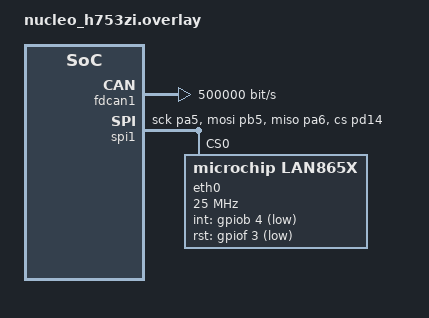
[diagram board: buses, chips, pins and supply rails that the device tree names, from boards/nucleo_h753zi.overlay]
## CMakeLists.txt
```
# SPDX-License-Identifier: Apache-2.0

cmake_minimum_required(VERSION 3.20.0)

find_package(Zephyr REQUIRED HINTS $ENV{ZEPHYR_BASE})
project(sockets_echo_client)

if(CONFIG_NET_SOCKETS_SOCKOPT_TLS AND
   CONFIG_MBEDTLS_KEY_EXCHANGE_PSK_ENABLED AND
   (CONFIG_NET_SAMPLE_PSK_HEADER_FILE STREQUAL "dummy_psk.h"))
  add_custom_target(development_psk
    COMMAND ${CMAKE_COMMAND} -E echo "----------------------------------------------------------"
    COMMAND ${CMAKE_COMMAND} -E echo "--- WARNING: Using dummy PSK! Only suitable for        ---"
    COMMAND ${CMAKE_COMMAND} -E echo "--- development. Set NET_SAMPLE_PSK_HEADER_FILE to use ---"
    COMMAND ${CMAKE_COMMAND} -E echo "--- own pre-shared key.                                ---"
    COMMAND ${CMAKE_COMMAND} -E echo "----------------------------------------------------------"
  )
  add_dependencies(app development_psk)
endif()

target_sources(                     app PRIVATE src/can_spe_adapter.c src/app_can.c)
target_sources_ifdef(CONFIG_NET_UDP app PRIVATE src/udp.c)
target_sources_ifdef(CONFIG_NET_TCP app PRIVATE src/tcp.c)

target_include_directories(app PRIVATE src/)
include(${ZEPHYR_BASE}/samples/net/common/common.cmake)

set(gen_dir ${ZEPHYR_BINARY_DIR}/include/generated/)

generate_inc_file_for_target(
    app
    src/echo-apps-cert.der
    ${gen_dir}/echo-apps-cert.der.inc
    )
```

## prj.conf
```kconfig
CONFIG_CAN=y
CONFIG_DEBUG=y

# Generic networking options
CONFIG_NETWORKING=y
CONFIG_NET_UDP=y
CONFIG_NET_TCP=y
CONFIG_NET_IPV6=y
CONFIG_NET_IPV4=y
CONFIG_NET_SOCKETS=y
CONFIG_ZVFS_POLL_MAX=5
CONFIG_NET_CONNECTION_MANAGER=y
CONFIG_NET_TC_THREAD_PREEMPTIVE=y

CONFIG_POSIX_API=y

# Kernel options
CONFIG_MAIN_STACK_SIZE=2048
CONFIG_ENTROPY_GENERATOR=y
CONFIG_TEST_RANDOM_GENERATOR=y
CONFIG_INIT_STACKS=y
CONFIG_MAX_THREAD_BYTES=3

# Logging
CONFIG_NET_LOG=y
CONFIG_LOG=y
CONFIG_NET_STATISTICS=y
CONFIG_PRINTK=y

# Network buffers
CONFIG_NET_PKT_RX_COUNT=16
CONFIG_NET_PKT_TX_COUNT=16
CONFIG_NET_BUF_RX_COUNT=80
CONFIG_NET_BUF_TX_COUNT=80
CONFIG_NET_CONTEXT_NET_PKT_POOL=y

# IP address options
CONFIG_NET_IF_UNICAST_IPV6_ADDR_COUNT=3
CONFIG_NET_IF_MCAST_IPV6_ADDR_COUNT=4
CONFIG_NET_MAX_CONTEXTS=10
CONFIG_NET_IF_MAX_IPV6_COUNT=3
CONFIG_NET_IF_MAX_IPV4_COUNT=3

# Network shell
CONFIG_NET_SHELL=y

# The addresses are selected so that qemu<->qemu connectivity works ok.
# For linux<->qemu connectivity, create a new conf file and swap the
# addresses (so that peer address is ending to 2).
CONFIG_NET_CONFIG_SETTINGS=y
CONFIG_NET_CONFIG_NEED_IPV6=y
CONFIG_NET_CONFIG_MY_IPV6_ADDR="2001:db8::2"
CONFIG_NET_CONFIG_PEER_IPV6_ADDR="2001:db8::1"
CONFIG_NET_CONFIG_NEED_IPV4=y
CONFIG_NET_CONFIG_MY_IPV4_ADDR="192.0.2.2"
CONFIG_NET_CONFIG_PEER_IPV4_ADDR="192.0.2.1"
CONFIG_SYSTEM_WORKQUEUE_STACK_SIZE=2048
```

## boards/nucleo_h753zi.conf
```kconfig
# Generic networking options
CONFIG_NET_UDP=n
CONFIG_NET_IPV6=n

# Network shell
CONFIG_SERIAL=y
# CONFIG_SHELL=y
# CONFIG_SHELL_BACKEND_SERIAL=y
# CONFIG_NET_SHELL=y

# Network application options and configuration
CONFIG_NET_CONFIG_NEED_IPV6=n
CONFIG_NET_CONFIG_MY_IPV4_NETMASK="255.255.255.0"
CONFIG_NET_CONFIG_AUTO_INIT=y

# LAN865x T1S driver specific
CONFIG_NET_L2_ETHERNET=y
# CONFIG_NET_PROMISCUOUS_MODE=y
CONFIG_ETH_LAN865X=y
# CONFIG_ETH_LAN865X_LOG_LEVEL=4
CONFIG_NET_BUF_DATA_SIZE=2048

# Debug options
CONFIG_DEBUG_THREAD_INFO=n
```

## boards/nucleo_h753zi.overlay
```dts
// &fdcan1 {
//     compatible         = "st,stm32h7-fdcan";
//     #address-cells = <1>;
//     #size-cells    = <0>;
//     status = "okay";
//     bosch,mram-cfg = 
//     // pinctrl-0     = <&can1_rx_pd0 &can1_tx_pd1>;
    
//     pinctrl-names = "default";
// };

&fdcan1 { // Replace with the actual node name for your CAN controller
        status = "okay";
        bus-speed = <500000>;
        // Other CAN controller properties like pinctrl-0, pinctrl-names, etc.
};

/* Enable SPI1 & lower its address/size cells so we can add child nodes */
&spi1 {
    #address-cells = <1>;
    #size-cells    = <0>;
    status = "okay";
    // /* CS on PD14 */
    // cs-gpios      = <&gpiod 14 GPIO_ACTIVE_LOW>;
    pinctrl-0     = <&spi1_sck_pa5 &spi1_mosi_pb5 &spi1_miso_pa6 &spi1_cs_pd14>;
    pinctrl-names = "default";

    /* ---------- LAN865x MAC‑PHY ------------------------------------------ */
    eth0: lan865x@0 {
        compatible         = "microchip,lan865x";
        reg                = <0>;              /* CS# 0 on this SPI bus      */
        spi-max-frequency  = <25000000>;
        int-gpios          = <&gpiob 4 GPIO_ACTIVE_LOW>;
        rst-gpios          = <&gpiof 3 GPIO_ACTIVE_LOW>;
        local-mac-address  = [00 19 05 00 00 05];

        tx-cut-through-mode;
        rx-cut-through-mode;
        
        lan865x_mdio: lan865x_mdio {
            compatible = "microchip,lan865x-mdio";
            status = "okay";
            #address-cells = <1>;
            #size-cells = <0>;
            ethernet-phy@0 {
                compatible = "microchip,t1s-phy";
                reg = <0x0>;
                plca-enable;
                plca-node-id = <1>;
                plca-node-count = <2>;
                plca-burst-count = <4>;
                plca-burst-timer = <0>;
                plca-to-timer = <0x20>;
                status = "okay";
            };
        };   
                
        status = "okay";        
    };
};

&{/soc/ethernet@40028000}{
    status = "disabled";
};
&{/soc/ethernet@40028000/ethernet}{
    status = "disabled";
};

&{/soc/ethernet@40028000/mdio}{
    status = "disabled";
};

&{/soc/ethernet@40028000/mdio/ethernet-phy@0}{
    status = "disabled";
};


&pinctrl {
    spi1_cs_pd14: spi1_cs_pd14 {
        pinmux = <STM32_PINMUX('D', 14, GPIO)>;   /* <-- GPIO, not AF5 */
        drive-push-pull;
        output-low;
        bias-pull-up;
        slew-rate = "very-high-speed";
    };

    spi1_sck_pa5 {
        pinmux    = <STM32_PINMUX('A', 5, AF5)>;
        bias-pull-down;
        drive-push-pull;
        slew-rate = "very-high-speed";
    };

    spi1_mosi_pb5 {
        pinmux    = <STM32_PINMUX('B', 5, AF5)>;
        bias-pull-down;
        drive-push-pull;
        slew-rate = "very-high-speed";
    };

    spi1_miso_pa6 {
        pinmux    = <STM32_PINMUX('A', 6, AF5)>;
        bias-pull-down;
        drive-push-pull;
        slew-rate = "very-high-speed";
    };

    can1_rx_pd0 {
        pinmux    = <STM32_PINMUX('D', 0, AF9)>;
        slew-rate = "very-high-speed";
    };

    can1_tx_pd1 {
        pinmux    = <STM32_PINMUX('D', 1, AF9)>;
        drive-push-pull;
        slew-rate = "very-high-speed";
    };
};
```

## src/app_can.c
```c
#include <zephyr/logging/log.h>
LOG_MODULE_DECLARE(net_echo_client_sample, LOG_LEVEL_INF);

#include "common.h"
#include "app_can.h"
#include <zephyr/kernel.h>


/* Change these to match your board/device tree aliases */
#define CAN_FILTER_DATA    CAN_FILTER_IDE //BIT(2)

const struct device *const can_dev = DEVICE_DT_GET(DT_CHOSEN(zephyr_canbus));

/* CAN RX callback: called in interrupt context */
static void can_rx_cb(const struct device *dev,
                      struct can_frame *frame) 
{
	static struct can_frame frame_to_send = {0};
    
	memcpy(&frame_to_send, frame, sizeof(struct can_frame));

    uint8_t dbg[128] = {0};
	for(int i = 0; i < frame->dlc ; i++)
	{
		sprintf(&dbg[i*3],"%02X ",frame_to_send.data[i]);	
	}	
	LOG_DBG("Received CAN Frame. ID : 0x%02X , Frame : %s",frame_to_send.id,dbg);

	while (k_msgq_put(&can_msgq, &frame, K_NO_WAIT) != 0) {
		/* message queue is full: purge old data & try again */
		k_msgq_purge(&can_msgq);
	}	
}

static void init_can(void)
{
    struct can_filter filter = {
        .id     = 0U,
        .mask   = 0U,          /* accept all IDs */
        .flags  = CAN_FILTER_DATA,
    };
   

    if (!can_dev) {
        LOG_ERR("CAN device not found");
        return;
    }
	
	if (!device_is_ready(can_dev)) {
		LOG_ERR("CAN device %s is not ready", can_dev->name);
		return;
	}

	can_set_mode(can_dev, CAN_MODE_NORMAL);


	int err = can_start(can_dev);
	if (err != 0) {
		LOG_ERR("Error starting CAN controller (err %d)", err);
		return;
	}

	 /* Install filter + RX callback */
    int ret = can_add_rx_filter_msgq(can_dev, &can_msgq, &filter);  
	if (ret < 0) {
  		LOG_ERR("Unable to add rx msgq [%d]", ret);
	}  
	ret = can_add_rx_filter(can_dev,can_rx_cb, NULL, &filter);
	if (ret < 0) {
  		LOG_ERR("Unable to add rx filter cb [%d]", ret);
	}

	LOG_INF("CAN filter return : %d", ret);
}

void can_thread(void* arg1, void* arg2, void* arg3)
{
   init_can();


   while(1)
   {
		can_frame_t frame = {0};
		int spe_rcv = k_msgq_get(&spe_msgq, &frame, K_FOREVER);
	    if(spe_rcv == 0) {
			LOG_DBG("CAN ID: 0x%03X DLC: %d Data: %02X %02X %02X %02X %02X %02X %02X %02X",
				frame.id, frame.dlc,
				frame.data[0], frame.data[1], frame.data[2], frame.data[3],
				frame.data[4], frame.data[5], frame.data[6], frame.data[7]);

			int ret = -1;

			ret = can_send(can_dev, &frame, K_NO_WAIT, NULL, NULL);
			if (ret != 0) {
					LOG_ERR("Sending failed [%d]", ret);
			}	
			else{
				LOG_DBG("CAN frame sent");
			}
			//Received CAN frame, send it over TCP
		}	
	}
}
```

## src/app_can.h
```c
#ifndef APP_CAN_H
#define APP_CAN_H

#define CAN_THREAD_STACK_SIZE 512
#define CAN_THREAD_PRIORITY -1//5

void can_thread(void* , void* , void* );


#endif // APP_CAN_H
```

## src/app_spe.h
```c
#ifndef APP_SPE_H
#define APP_SPE_H

#endif // APP_SPE_H
```

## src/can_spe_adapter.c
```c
/* can_spe_adapter.c - Transceiver for CTA */

/*
 * Copyright (c) 2017 Intel Corporation.
 * Copyright (c) 2018 Nordic Semiconductor ASA.
 *
 * SPDX-License-Identifier: Apache-2.0
 */

#include <zephyr/logging/log.h>
LOG_MODULE_REGISTER(net_echo_client_sample, LOG_LEVEL_DBG);

#include <zephyr/kernel.h>
#include <errno.h>
#include <stdio.h>

#include <zephyr/posix/sys/eventfd.h>

#include <zephyr/net/socket.h>
#include <zephyr/net/tls_credentials.h>
#include <zephyr/net/net_if.h>
#include <zephyr/net/net_mgmt.h>
#include <zephyr/net/net_event.h>
#include <zephyr/net/conn_mgr_monitor.h>
#include <zephyr/net/ethernet.h>
#include <zephyr/net/ethernet_mgmt.h>

#include "common.h"
#include "app_can.h"
#include "ca_certificate.h"


#define APP_BANNER "Run echo client"

#define INVALID_SOCK (-1)

#define EVENT_MASK (NET_EVENT_L4_CONNECTED | \
		    NET_EVENT_L4_DISCONNECTED)


APP_DMEM struct configs conf = {
	.ipv4 = {
		.proto = "IPv4",
		.udp.sock = INVALID_SOCK,
		.tcp.sock = INVALID_SOCK,
	},
	.ipv6 = {
		.proto = "IPv6",
		.udp.sock = INVALID_SOCK,
		.tcp.sock = INVALID_SOCK,
	},
};

static APP_BMEM struct pollfd fds[1 + 4];
static APP_BMEM int nfds;

static APP_BMEM bool connected;
static APP_BMEM bool need_restart;

K_SEM_DEFINE(run_app, 0, 1);

K_THREAD_DEFINE(can_tid, CAN_THREAD_STACK_SIZE,
					can_thread, NULL, NULL, NULL,
					CAN_THREAD_PRIORITY, 0, 0);

static struct net_mgmt_event_callback mgmt_cb;



#define CAN_QUEUE_SIZE 50U
#define CAN_FRAME_SIZE sizeof(can_frame_t)

#define SPE_QUEUE_SIZE 10U
#define SPE_FRAME_SIZE sizeof(can_frame_t) // can_frame_t for now. Should be spe_frame_t when not tested with echo_server

static uint8_t can_msgq_buffer[CAN_QUEUE_SIZE * CAN_FRAME_SIZE];
struct k_msgq can_msgq;

static uint8_t spe_msgq_buffer[SPE_QUEUE_SIZE * SPE_FRAME_SIZE];
struct k_msgq spe_msgq;


static void prepare_fds(void)
{
	nfds = 0;

	/* eventfd is used to trigger restart */
	fds[nfds].fd = eventfd(0, 0);
	fds[nfds].events = POLLIN;
	nfds++;

	if (conf.ipv4.udp.sock >= 0) {
		fds[nfds].fd = conf.ipv4.udp.sock;
		fds[nfds].events = POLLIN;
		nfds++;
	}

	if (conf.ipv4.tcp.sock >= 0) {
		fds[nfds].fd = conf.ipv4.tcp.sock;
		fds[nfds].events = POLLIN;
		nfds++;
	}	
}

static void wait(void)
{
	int ret;

	/* Wait for event on any socket used. Once event occurs,
	 * we'll check them all.
	 */
	ret = poll(fds, nfds, 100);
	if (ret < 0) {
		static bool once;

		if (!once) {
			once = true;
			LOG_ERR("Error in poll:%d", errno);
		}

		return;
	}

	if (ret > 0 && fds[0].revents) {
		eventfd_t value;

		eventfd_read(fds[0].fd, &value);
		LOG_DBG("Received restart event.");
		return;
	}
}

static int start_udp_and_tcp(void)
{
	int ret;

	LOG_INF("Starting...");

	if (IS_ENABLED(CONFIG_NET_TCP)) {
		ret = start_tcp();
		if (ret < 0) {
			return ret;
		}
	}

	if (IS_ENABLED(CONFIG_NET_UDP)) {
		ret = start_udp();
		if (ret < 0) {
			return ret;
		}
	}

	prepare_fds();

	return 0;
}

__attribute__((unused)) static int run_udp_and_tcp(void)
{
	int ret = 0;

	wait();

	ret = process_tcp();

	return ret;
}

static void stop_udp_and_tcp(void)
{
	LOG_INF("Stopping...");

	if (IS_ENABLED(CONFIG_NET_UDP)) {
		stop_udp();
	}

	if (IS_ENABLED(CONFIG_NET_TCP)) {
		stop_tcp();
	}
}


static void event_handler(struct net_mgmt_event_callback *cb,
			  uint64_t mgmt_event, struct net_if *iface)
{
	if ((mgmt_event & EVENT_MASK) != mgmt_event) {
		return;
	}

	if (mgmt_event == NET_EVENT_L4_CONNECTED) {
		LOG_INF("Network connected");

		connected = true;
		conf.ipv4.udp.mtu = net_if_get_mtu(iface);
		conf.ipv6.udp.mtu = conf.ipv4.udp.mtu;

		if (!IS_ENABLED(CONFIG_NET_IPV6_PE)) {
			k_sem_give(&run_app);
		}

		return;
	}

	if (mgmt_event == NET_EVENT_L4_DISCONNECTED) {
		LOG_INF("Network disconnected");

		connected = false;
		k_sem_reset(&run_app);

		return;
	}
}

static const uint8_t mac_addr_change[6] = { 0xAA, 0xBB, 0xCC,
					 0x01,  0x02,  0x04 };
static int init_macaddr(void)
{
	struct ethernet_req_params params;
	struct net_if *iface = net_if_get_default();
	int ret;

	net_if_down(iface);
	memcpy(params.mac_address.addr, mac_addr_change, 6);

	ret = net_mgmt(NET_REQUEST_ETHERNET_SET_MAC_ADDRESS,
	               iface, &params,
	               sizeof(struct ethernet_req_params));
	net_if_up(iface);

	return ret;
}

static void init_app(void)
{
	LOG_INF(APP_BANNER);


#if defined(CONFIG_NET_SOCKETS_SOCKOPT_TLS)
	int err = tls_credential_add(CA_CERTIFICATE_TAG,
				    TLS_CREDENTIAL_CA_CERTIFICATE,
				    ca_certificate,
				    sizeof(ca_certificate));
	if (err < 0) {
		LOG_ERR("Failed to register public certificate: %d", err);
	}

#if defined(CONFIG_MBEDTLS_KEY_EXCHANGE_PSK_ENABLED)
	err = tls_credential_add(PSK_TAG,
				TLS_CREDENTIAL_PSK,
				psk,
				sizeof(psk));
	if (err < 0) {
		LOG_ERR("Failed to register PSK: %d", err);
	}
	err = tls_credential_add(PSK_TAG,
				TLS_CREDENTIAL_PSK_ID,
				psk_id,
				sizeof(psk_id) - 1);
	if (err < 0) {
		LOG_ERR("Failed to register PSK ID: %d", err);
	}
#endif /* defined(CONFIG_MBEDTLS_KEY_EXCHANGE_PSK_ENABLED) */
#endif /* defined(CONFIG_NET_SOCKETS_SOCKOPT_TLS) */


	if (IS_ENABLED(CONFIG_NET_CONNECTION_MANAGER)) {
		net_mgmt_init_event_callback(&mgmt_cb,
					     event_handler, EVENT_MASK);
		net_mgmt_add_event_callback(&mgmt_cb);

		conn_mgr_mon_resend_status();
	}

	k_msgq_init(&can_msgq, can_msgq_buffer, CAN_FRAME_SIZE, CAN_QUEUE_SIZE);
	k_msgq_init(&spe_msgq, spe_msgq_buffer, SPE_FRAME_SIZE, SPE_QUEUE_SIZE);

	init_udp();
	init_macaddr();
}


static void start_client(void *p1, void *p2, void *p3)
{
	ARG_UNUSED(p1);
	ARG_UNUSED(p2);
	ARG_UNUSED(p3);

	int iterations = CONFIG_NET_SAMPLE_SEND_ITERATIONS;
	int i = 0;
	int ret;

	while (iterations == 0 || i < iterations) {
		/* Wait for the connection. */
		k_sem_take(&run_app, K_FOREVER);
		
		do {
			if (need_restart) {
				/* Close all sockets and get a fresh restart */
				stop_udp_and_tcp();
				need_restart = false;
			}

			ret = start_udp_and_tcp();

			while (connected && (ret == 0)) {

				ret = process_tcp_proto(&conf.ipv4);
				// ret = run_udp_and_tcp();

				if (iterations > 0) {
					i++;
					if (i >= iterations) {
						break;
					}
				}

				// if (need_restart) {
				// 	break;
				// }
				k_yield();
			}
		} while (need_restart);

		stop_udp_and_tcp();
	}
}

int main(void)
{
	//log_thread_set(k_current_get());
	//k_thread_suspend(can_tid);

	init_app();

	

    LOG_INF("CAN→SPE bridge running");

	if (!IS_ENABLED(CONFIG_NET_CONNECTION_MANAGER)) {
		/* If the config library has not been configured to start the
		 * app only after we have a connection, then we can start
		 * it right away.
		 */
		connected = true;
		k_sem_give(&run_app);
	}

	//k_thread_start(can_tid);

	//k_thread_priority_set(k_current_get(), THREAD_PRIORITY);

	k_yield();

	start_client(NULL, NULL, NULL);

	return 0;
}
```

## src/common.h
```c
/*
 * Copyright (c) 2017 Intel Corporation.
 * Copyright (c) 2018 Nordic Semiconductor ASA.
 *
 * SPDX-License-Identifier: Apache-2.0
 */

#include <zephyr/kernel.h>
#include <zephyr/drivers/can.h>

#include "net_sample_common.h"

/* Value of 0 will cause the IP stack to select next free port */
#define MY_PORT 0

#define PEER_PORT 4242

/* Turn off the progress printing so that shell can be used.
 * Set to true if you want to see progress output.
 */
#define PRINT_PROGRESS true

#if defined(CONFIG_USERSPACE)
#include <zephyr/app_memory/app_memdomain.h>
extern struct k_mem_partition app_partition;
extern struct k_mem_domain app_domain;
#define APP_BMEM K_APP_BMEM(app_partition)
#define APP_DMEM K_APP_DMEM(app_partition)
#else
#define APP_BMEM
#define APP_DMEM
#endif

#if defined(CONFIG_NET_TC_THREAD_PREEMPTIVE)
#define THREAD_PRIORITY K_PRIO_PREEMPT(8)
#else
#define THREAD_PRIORITY -2
#endif

#define UDP_STACK_SIZE 2048

struct udp_control {
	struct k_poll_signal tx_signal;
	struct k_timer tx_timer;
	struct k_timer rx_timer;
};

struct sample_data {
	const char *proto;

	struct {
		int sock;
		uint32_t expecting;
		uint32_t counter;
		uint32_t mtu;
		struct udp_control *ctrl;
	} udp;

	struct {
		int sock;
		uint32_t expecting;
		uint32_t received;
		uint32_t counter;
	} tcp;
};

struct configs {
	struct sample_data ipv4;
	struct sample_data ipv6;
};

#if !defined(CONFIG_NET_CONFIG_PEER_IPV4_ADDR)
#define CONFIG_NET_CONFIG_PEER_IPV4_ADDR ""
#endif

#if !defined(CONFIG_NET_CONFIG_PEER_IPV6_ADDR)
#define CONFIG_NET_CONFIG_PEER_IPV6_ADDR ""
#endif

extern struct configs conf;

extern struct k_msgq can_msgq;
extern struct k_msgq spe_msgq;

typedef struct can_frame can_frame_t;

typedef struct {
	uint16_t msg_type;
	uint32_t data_len;
	union{
		can_frame_t can_frame;
		uint8_t data[sizeof(can_frame_t)];
	};
	uint32_t crc;
} spe_msg_frame_t;

#if defined(CONFIG_NET_UDP)
/* init_udp initializes kernel objects, hence it has to be called from
 * supervisor thread.
 */
void init_udp(void);
int start_udp(void);
int process_udp(void);
void stop_udp(void);
#else
static inline void init_udp(void) { }
static inline int start_udp(void) { return 0; }
static inline int process_udp(void) { return 0; }
static inline void stop_udp(void) { }
#endif /* defined(CONFIG_NET_UDP) */

int start_tcp(void);
int process_tcp(void);
void stop_tcp(void);
int send_buf_tcp(struct sample_data *data, uint8_t *data_buffer, uint32_t len);
int process_tcp_proto(struct sample_data *data);
```

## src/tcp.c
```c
/* tcp.c - TCP specific code for echo client */

/*
 * Copyright (c) 2017 Intel Corporation.
 * Copyright (c) 2018 Nordic Semiconductor ASA.
 *
 * SPDX-License-Identifier: Apache-2.0
 */

#include <zephyr/logging/log.h>
LOG_MODULE_DECLARE(net_echo_client_sample, LOG_LEVEL_INF);

#include <zephyr/kernel.h>
#include <errno.h>
#include <stdio.h>

#include <zephyr/net/socket.h>
#include <zephyr/net/tls_credentials.h>
#include <zephyr/random/random.h>

#include "common.h"
#include "ca_certificate.h"

#define RECV_BUF_SIZE 128

/* These proxy server addresses are only used when CONFIG_SOCKS
 * is enabled. To connect to a proxy server that is not running
 * under the same IP as the peer or uses a different port number,
 * modify the values.
 */
#define SOCKS5_PROXY_V4_ADDR CONFIG_NET_CONFIG_PEER_IPV4_ADDR
#define SOCKS5_PROXY_PORT 1080

static ssize_t sendall(int sock, const void *buf, size_t len)
{
	while (len) {
		ssize_t out_len = send(sock, buf, len, 0);

		if (out_len < 0) {
			return out_len;
		}
		buf = (const char *)buf + out_len;
		len -= out_len;
	}

	return 0;
}

int send_tcp_data(struct sample_data *data)
{
	int ret = 0;

	// do {
	// 	data->tcp.expecting = sys_rand32_get() % ipsum_len;
	// } while (data->tcp.expecting == 0U);

	// data->tcp.received = 0U;

	// // ret =  sendall(data->tcp.sock, lorem_ipsum, data->tcp.expecting);

	// if (ret < 0) {
	// 	LOG_ERR("%s TCP: Failed to send data, errno %d", data->proto,
	// 		errno);
	// } else {
	// 	if (PRINT_PROGRESS) {
	// 		LOG_DBG("%s TCP: Sent %d bytes", data->proto,
	// 			data->tcp.expecting);
	// 	}
	// }

	return ret;
}

int send_buf_tcp(struct sample_data *data, uint8_t *data_buffer, uint32_t len)
{
	int ret;

	if(len)
	{
		data->tcp.expecting = len;
	}

	data->tcp.received = 0U;

	ret =  sendall(data->tcp.sock, data_buffer, data->tcp.expecting);

	if (ret < 0) {
		LOG_ERR("%s TCP: Failed to send data, errno %d", data->proto,
			errno);
	} else {
		if (PRINT_PROGRESS) {
			LOG_DBG("%s TCP: Sent %d bytes", data->proto,
				data->tcp.expecting);
		}
	}

	return ret;
}

static int start_tcp_proto(struct sample_data *data, sa_family_t family,
			   struct sockaddr *addr, socklen_t addrlen)
{
	int ret;

#if defined(CONFIG_NET_SOCKETS_SOCKOPT_TLS)
	data->tcp.sock = socket(family, SOCK_STREAM, IPPROTO_TLS_1_2);
#else
	data->tcp.sock = socket(family, SOCK_STREAM, IPPROTO_TCP);
#endif
	if (data->tcp.sock < 0) {
		LOG_ERR("Failed to create TCP socket (%s): %d", data->proto,
			errno);
		return -errno;
	}

	if (IS_ENABLED(CONFIG_SOCKS)) {
		struct sockaddr proxy_addr;
		socklen_t proxy_addrlen;

		if (family == AF_INET) {
			struct sockaddr_in *proxy4 =
				(struct sockaddr_in *)&proxy_addr;

			proxy4->sin_family = AF_INET;
			proxy4->sin_port = htons(SOCKS5_PROXY_PORT);
			inet_pton(AF_INET, SOCKS5_PROXY_V4_ADDR,
				  &proxy4->sin_addr);
			proxy_addrlen = sizeof(struct sockaddr_in);
		} else {
			return -EINVAL;
		}

		ret = setsockopt(data->tcp.sock, SOL_SOCKET, SO_SOCKS5,
				 &proxy_addr, proxy_addrlen);
		if (ret < 0) {
			return ret;
		}
	}

#if defined(CONFIG_NET_SOCKETS_SOCKOPT_TLS)
	sec_tag_t sec_tag_list[] = {
		CA_CERTIFICATE_TAG,
#if defined(CONFIG_MBEDTLS_KEY_EXCHANGE_PSK_ENABLED)
		PSK_TAG,
#endif
	};

	ret = setsockopt(data->tcp.sock, SOL_TLS, TLS_SEC_TAG_LIST,
			 sec_tag_list, sizeof(sec_tag_list));
	if (ret < 0) {
		LOG_ERR("Failed to set TLS_SEC_TAG_LIST option (%s): %d",
			data->proto, errno);
		ret = -errno;
	}

	ret = setsockopt(data->tcp.sock, SOL_TLS, TLS_HOSTNAME,
			 TLS_PEER_HOSTNAME, sizeof(TLS_PEER_HOSTNAME));
	if (ret < 0) {
		LOG_ERR("Failed to set TLS_HOSTNAME option (%s): %d",
			data->proto, errno);
		ret = -errno;
	}
#endif

	ret = connect(data->tcp.sock, addr, addrlen);
	if (ret < 0) {
		LOG_ERR("Cannot connect to TCP remote (%s): %d", data->proto,
			errno);
		ret = -errno;
	}

	return ret;
}

int process_tcp_proto(struct sample_data *data)
{
	int ret = 0;
	int received = 0;
	char buf[RECV_BUF_SIZE] = { 0 };
	static uint32_t cnt = 0;

	can_frame_t frame_to_send = {0};

	do {

		int can_rcv = k_msgq_get(&can_msgq, &frame_to_send, K_NO_WAIT);
	    if(can_rcv == 0) {
			
			if(++cnt % 100 == 0)
			{
				LOG_INF("100 CAN frames sent over SPE");
			}	
			ret = send_buf_tcp(data, (uint8_t*)&frame_to_send, sizeof(frame_to_send));
			//Receievd CAN frame, send it over TCP
		} else if (can_rcv == -ENOMSG) { // Queue purged by other thread
			LOG_DBG("No CAN frame received, sending TCP data");
		} else if (can_rcv == -EAGAIN) { 
			LOG_DBG("No CAN frame received, msgq_get timed out");
		}

		if (ret < 0) {
			return ret;
		}

		received = recv(data->tcp.sock, buf, sizeof(buf), MSG_DONTWAIT);

		/* No data or error. */
		if (received == 0) {
			LOG_DBG("No data received");
			ret = -EIO;
			continue;
		} else if (received < 0) {
			//LOG_DBG("Error receiving TCP data errno : %d", errno);
			if (errno == EAGAIN || errno == EWOULDBLOCK) {
				ret = 0;
			} else {
				ret = -errno;
			}
			continue;
		}
		/* Data received. */
		data->tcp.received += received;
		k_msgq_put(&spe_msgq, buf, K_NO_WAIT); // Send over to CAN thread
		if (data->tcp.received < data->tcp.expecting) {
			continue;
		}
		
		break;
	} while (received > 0 || k_msgq_num_used_get(&can_msgq) > 0);

	return ret;
}

int start_tcp(void)
{
	int ret = 0;
	struct sockaddr_in addr4;
	
	if (IS_ENABLED(CONFIG_NET_IPV4)) {
		addr4.sin_family = AF_INET;
		addr4.sin_port = htons(PEER_PORT);
		inet_pton(AF_INET, CONFIG_NET_CONFIG_PEER_IPV4_ADDR,
			  &addr4.sin_addr);

		ret = start_tcp_proto(&conf.ipv4, AF_INET,
				      (struct sockaddr *)&addr4,
				      sizeof(addr4));
		if (ret < 0) {
			return ret;
		}
	}

	if (IS_ENABLED(CONFIG_NET_IPV4)) {
		ret = send_tcp_data(&conf.ipv4);
	}

	return ret;
}

int process_tcp(void)
{
	int ret = 0;

	if (IS_ENABLED(CONFIG_NET_IPV4)) {
		ret = process_tcp_proto(&conf.ipv4);
		if (ret < 0) {
			return ret;
		}
	}

	return ret;
}

void stop_tcp(void)
{
	if (IS_ENABLED(CONFIG_NET_IPV4)) {
		if (conf.ipv4.tcp.sock >= 0) {
			(void)close(conf.ipv4.tcp.sock);
		}
	}
}
```
